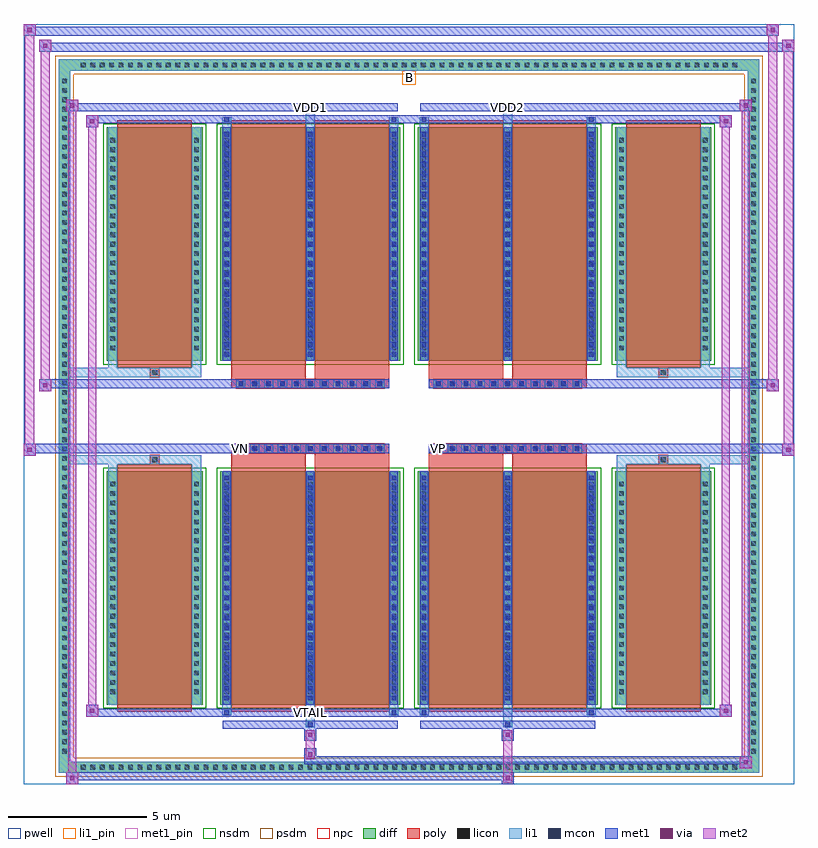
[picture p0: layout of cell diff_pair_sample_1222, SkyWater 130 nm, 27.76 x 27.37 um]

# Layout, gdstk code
import gdstk
lib = gdstk.Library(unit=1e-6, precision=5e-09)
def R(c, l, rs):  # rectangles x0, y0, x1, y1
    for r in rs: c.add(gdstk.rectangle(r[:2], r[2:], *l))
def A(c, l, x, y, w, h, nx, ny, dx, dy):  # array of equal rectangles
    R(c, l, [(x+i*dx, y+j*dy, x+i*dx+w, y+j*dy+h) for i in range(nx) for j in range(ny)])
def P(c, l, *ps):  # polygons
    for p in ps: c.add(gdstk.Polygon(p, *l))
pwell = (64, 44)
diff = (65, 20)
poly = (66, 20)
licon = (66, 44)
li1_pin = (67, 16)
li1 = (67, 20)
mcon = (67, 44)
met1_pin = (68, 16)
met1 = (68, 20)
via = (68, 44)
met2 = (69, 20)
nsdm = (93, 44)
psdm = (94, 20)
npc = (95, 20)

diff_pair_sample_1222 = lib.new_cell('diff_pair_sample_1222')
R(diff_pair_sample_1222, pwell, [(-13.88,-13.25,13.88,14.12), (-11.2,-11.44,-0.01,-0.8), (0.01,-11.44,11.2,-0.8), (-11.2,0.8,-0.01,11.44), (0.01,0.8,11.2,11.44)])
A(diff_pair_sample_1222, diff, -11.935, -12.85, 0.41, 0.41, 70, 2, 0.34, 25.29)
A(diff_pair_sample_1222, diff, -12.61, -12.275, 0.41, 0.41, 1, 72, 0, 0.34)
A(diff_pair_sample_1222, diff, 12.2, -12.275, 0.41, 0.41, 1, 72, 0, 0.34)
R(diff_pair_sample_1222, diff, [(-11.935,-12.85,11.935,-12.44), (-12.61,-12.275,-12.2,12.275), (12.2,-12.275,12.61,12.275), (-10.89,-10.395,-7.43,-1.985), (-6.79,-10.395,-0.32,-1.985), (0.32,-10.395,6.79,-1.985), (7.43,-10.395,10.89,-1.985), (-10.89,1.985,-7.43,10.395), (-6.79,1.985,-0.32,10.395), (0.32,1.985,6.79,10.395), (7.43,1.985,10.89,10.395), (-11.935,12.44,11.935,12.85)])
P(diff_pair_sample_1222, diff, [(12.61,12.85),(-12.61,12.85),(-12.61,-12.44),(-12.2,-12.44),(-12.2,12.44),(12.2,12.44),(12.2,-12.44),(-12.2,-12.44),(-12.61,-12.44),(-12.61,-12.85),(12.61,-12.85)])
A(diff_pair_sample_1222, poly, -6.22, -1.33, 0.33, 0.33, 11, 2, 0.5, 2.33)
A(diff_pair_sample_1222, poly, 0.89, -1.33, 0.33, 0.33, 11, 2, 0.5, 2.33)
R(diff_pair_sample_1222, poly, [(-10.5,-10.645,-7.82,-1.735), (-6.4,-10.645,-3.72,-1.735), (-3.39,-10.645,-0.71,-1.735), (0.71,-10.645,3.39,-1.735), (3.72,-10.645,6.4,-1.735), (7.82,-10.645,10.5,-1.735), (-9.325,-1.735,-8.995,-1.405), (-9.325,-1.735,-8.995,-1.405), (-6.4,-1.735,-3.72,-1.33), (-3.39,-1.735,-0.71,-1.33), (0.71,-1.735,3.39,-1.33), (3.72,-1.735,6.4,-1.33), (8.995,-1.735,9.325,-1.405), (8.995,-1.735,9.325,-1.405), (-6.4,-1.33,-0.71,-1), (0.71,-1.33,6.4,-1), (-6.4,1,-0.71,1.33), (0.71,1,6.4,1.33), (-6.4,1.33,-3.72,1.735), (-3.39,1.33,-0.71,1.735), (0.71,1.33,3.39,1.735), (3.72,1.33,6.4,1.735), (-9.325,1.405,-8.995,1.735), (-9.325,1.405,-8.995,1.735), (8.995,1.405,9.325,1.735), (8.995,1.405,9.325,1.735), (-10.5,1.735,-7.82,10.645), (-6.4,1.735,-3.72,10.645), (-3.39,1.735,-0.71,10.645), (0.71,1.735,3.39,10.645), (3.72,1.735,6.4,10.645), (7.82,1.735,10.5,10.645)])
A(diff_pair_sample_1222, licon, -11.815, -12.73, 0.17, 0.17, 70, 2, 0.34, 25.29)
A(diff_pair_sample_1222, licon, -12.49, -12.155, 0.17, 0.17, 1, 72, 0, 0.34)
A(diff_pair_sample_1222, licon, 12.32, -12.155, 0.17, 0.17, 1, 72, 0, 0.34)
A(diff_pair_sample_1222, licon, -10.75, -10.015, 0.17, 0.17, 1, 23, 0, 0.34)
A(diff_pair_sample_1222, licon, -7.74, -10.015, 0.17, 0.17, 1, 23, 0, 0.34)
A(diff_pair_sample_1222, licon, -6.65, -10.015, 0.17, 0.17, 3, 23, 3.01, 0.34)
A(diff_pair_sample_1222, licon, 0.46, -10.015, 0.17, 0.17, 3, 23, 3.01, 0.34)
A(diff_pair_sample_1222, licon, 7.57, -10.015, 0.17, 0.17, 1, 23, 0, 0.34)
A(diff_pair_sample_1222, licon, 10.58, -10.015, 0.17, 0.17, 1, 23, 0, 0.34)
A(diff_pair_sample_1222, licon, -6.14, -1.25, 0.17, 0.17, 11, 2, 0.5, 2.33)
A(diff_pair_sample_1222, licon, 0.97, -1.25, 0.17, 0.17, 11, 2, 0.5, 2.33)
A(diff_pair_sample_1222, licon, -10.75, 2.365, 0.17, 0.17, 1, 23, 0, 0.34)
A(diff_pair_sample_1222, licon, -7.74, 2.365, 0.17, 0.17, 1, 23, 0, 0.34)
A(diff_pair_sample_1222, licon, -6.65, 2.365, 0.17, 0.17, 3, 23, 3.01, 0.34)
A(diff_pair_sample_1222, licon, 0.46, 2.365, 0.17, 0.17, 3, 23, 3.01, 0.34)
A(diff_pair_sample_1222, licon, 7.57, 2.365, 0.17, 0.17, 1, 23, 0, 0.34)
A(diff_pair_sample_1222, licon, 10.58, 2.365, 0.17, 0.17, 1, 23, 0, 0.34)
R(diff_pair_sample_1222, licon, [(-9.245,-1.655,-9.075,-1.485), (9.075,-1.655,9.245,-1.485), (-9.245,1.485,-9.075,1.655), (9.075,1.485,9.245,1.655)])
R(diff_pair_sample_1222, li1_pin, [(-0.25,11.94,0.25,12.44)])
A(diff_pair_sample_1222, li1, -11.895, -12.81, 0.33, 0.33, 70, 2, 0.34, 25.29)
A(diff_pair_sample_1222, li1, -12.57, -12.235, 0.33, 0.33, 1, 72, 0, 0.34)
A(diff_pair_sample_1222, li1, 12.24, -12.235, 0.33, 0.33, 1, 72, 0, 0.34)
A(diff_pair_sample_1222, li1, -6.73, -10.395, 0.33, 8.41, 3, 2, 3.01, 12.38)
A(diff_pair_sample_1222, li1, 0.38, -10.395, 0.33, 8.41, 3, 2, 3.01, 12.38)
A(diff_pair_sample_1222, li1, -6.65, -10.235, 0.17, 0.17, 3, 23, 3.01, 0.36)
A(diff_pair_sample_1222, li1, -6.65, -10.235, 0.17, 8.09, 3, 2, 3.01, 12.38)
A(diff_pair_sample_1222, li1, 0.46, -10.235, 0.17, 0.17, 3, 23, 3.01, 0.36)
A(diff_pair_sample_1222, li1, 0.46, -10.235, 0.17, 8.09, 3, 2, 3.01, 12.38)
A(diff_pair_sample_1222, li1, -10.83, -10.095, 0.33, 0.33, 1, 23, 0, 0.34)
A(diff_pair_sample_1222, li1, -7.82, -10.095, 0.33, 0.33, 1, 23, 0, 0.34)
A(diff_pair_sample_1222, li1, -6.73, -10.095, 0.33, 0.33, 3, 23, 3.01, 0.34)
A(diff_pair_sample_1222, li1, 0.38, -10.095, 0.33, 0.33, 3, 23, 3.01, 0.34)
A(diff_pair_sample_1222, li1, 7.49, -10.095, 0.33, 0.33, 1, 23, 0, 0.34)
A(diff_pair_sample_1222, li1, 10.5, -10.095, 0.33, 0.33, 1, 23, 0, 0.34)
A(diff_pair_sample_1222, li1, -6.22, -1.33, 0.33, 0.33, 11, 2, 0.5, 2.33)
A(diff_pair_sample_1222, li1, 0.89, -1.33, 0.33, 0.33, 11, 2, 0.5, 2.33)
A(diff_pair_sample_1222, li1, -6.65, 2.145, 0.17, 0.17, 3, 23, 3.01, 0.36)
A(diff_pair_sample_1222, li1, 0.46, 2.145, 0.17, 0.17, 3, 23, 3.01, 0.36)
A(diff_pair_sample_1222, li1, -10.83, 2.285, 0.33, 0.33, 1, 23, 0, 0.34)
A(diff_pair_sample_1222, li1, -7.82, 2.285, 0.33, 0.33, 1, 23, 0, 0.34)
A(diff_pair_sample_1222, li1, -6.73, 2.285, 0.33, 0.33, 3, 23, 3.01, 0.34)
A(diff_pair_sample_1222, li1, 0.38, 2.285, 0.33, 0.33, 3, 23, 3.01, 0.34)
A(diff_pair_sample_1222, li1, 7.49, 2.285, 0.33, 0.33, 1, 23, 0, 0.34)
A(diff_pair_sample_1222, li1, 10.5, 2.285, 0.33, 0.33, 1, 23, 0, 0.34)
R(diff_pair_sample_1222, li1, [(-12.61,-12.85,-12.2,-12.44), (-12.61,-12.85,-12.2,-12.44), (-12.2,-12.85,12.2,-12.44), (12.2,-12.85,12.61,-12.44), (12.2,-12.85,12.61,-12.44), (-12.61,-12.44,-12.2,12.44), (12.2,-12.44,12.61,12.44), (-3.72,-11.2,-3.39,-10.395), (-3.64,-11.2,-3.47,-11.03), (3.39,-11.2,3.72,-10.395), (3.47,-11.2,3.64,-11.03), (-6.73,-10.77,-6.4,-10.395), (-6.65,-10.77,-6.48,-10.6), (-0.71,-10.77,-0.38,-10.395), (-0.63,-10.77,-0.46,-10.6), (0.38,-10.77,0.71,-10.395), (0.46,-10.77,0.63,-10.6), (6.4,-10.77,6.73,-10.395), (6.48,-10.77,6.65,-10.6), (-10.83,-10.395,-10.5,-1.985), (-7.82,-10.395,-7.49,-1.985), (7.49,-10.395,7.82,-1.985), (10.5,-10.395,10.83,-1.985), (-10.83,-1.985,-10.5,-1.405), (-7.82,-1.985,-7.49,-1.405), (7.49,-1.985,7.82,-1.405), (10.5,-1.985,10.83,-1.405), (-12.61,-1.735,-9.325,-1.405), (-10.83,-1.735,-9.325,-1.405), (-9.325,-1.735,-8.995,-1.405), (-8.995,-1.735,-7.49,-1.405), (7.49,-1.735,8.995,-1.405), (8.995,-1.735,9.325,-1.405), (8.995,-1.735,12.61,-1.405), (9.325,-1.735,10.83,-1.405), (-12.61,1.405,-9.325,1.735), (-10.83,1.405,-9.325,1.735), (-10.83,1.405,-10.5,1.985), (-9.325,1.405,-8.995,1.735), (-8.995,1.405,-7.49,1.735), (-7.82,1.405,-7.49,1.985), (7.49,1.405,8.995,1.735), (7.49,1.405,7.82,1.985), (8.995,1.405,9.325,1.735), (8.995,1.405,12.61,1.735), (9.325,1.405,10.83,1.735), (10.5,1.405,10.83,1.985), (-10.83,1.985,-10.5,10.395), (-7.82,1.985,-7.49,10.395), (7.49,1.985,7.82,10.395), (10.5,1.985,10.83,10.395), (-6.73,10.395,-6.4,10.77), (-3.72,10.395,-3.39,11.2), (-0.71,10.395,-0.38,10.77), (0.38,10.395,0.71,10.77), (3.39,10.395,3.72,11.2), (6.4,10.395,6.73,10.77), (-6.65,10.6,-6.48,10.77), (-0.63,10.6,-0.46,10.77), (0.46,10.6,0.63,10.77), (6.48,10.6,6.65,10.77), (-3.64,11.03,-3.47,11.2), (3.47,11.03,3.64,11.2), (-12.61,12.44,-12.2,12.85), (-12.61,12.44,-12.2,12.85), (-12.2,12.44,12.2,12.85), (12.2,12.44,12.61,12.85), (12.2,12.44,12.61,12.85)])
A(diff_pair_sample_1222, mcon, -6.65, -10.235, 0.17, 0.17, 3, 23, 3.01, 0.36)
A(diff_pair_sample_1222, mcon, 0.46, -10.235, 0.17, 0.17, 3, 23, 3.01, 0.36)
A(diff_pair_sample_1222, mcon, -6.14, -1.25, 0.17, 0.17, 11, 2, 0.5, 2.33)
A(diff_pair_sample_1222, mcon, 0.97, -1.25, 0.17, 0.17, 11, 2, 0.5, 2.33)
A(diff_pair_sample_1222, mcon, -6.65, 2.145, 0.17, 0.17, 3, 23, 3.01, 0.36)
A(diff_pair_sample_1222, mcon, 0.46, 2.145, 0.17, 0.17, 3, 23, 3.01, 0.36)
R(diff_pair_sample_1222, mcon, [(-3.64,-11.2,-3.47,-11.03), (3.47,-11.2,3.64,-11.03), (-6.65,-10.77,-6.48,-10.6), (-0.63,-10.77,-0.46,-10.6), (0.46,-10.77,0.63,-10.6), (6.48,-10.77,6.65,-10.6), (-6.65,10.6,-6.48,10.77), (-0.63,10.6,-0.46,10.77), (0.46,10.6,0.63,10.77), (6.48,10.6,6.65,10.77), (-3.64,11.03,-3.47,11.2), (3.47,11.03,3.64,11.2)])
R(diff_pair_sample_1222, met1_pin, [(-3.69,-10.81,-3.42,-10.54), (-6.19,-1.29,-5.92,-1.02), (0.92,-1.29,1.19,-1.02), (-3.69,10.99,-3.42,11.26), (3.42,10.99,3.69,11.26)])
A(diff_pair_sample_1222, met1, -6.71, -10.395, 0.29, 8.41, 3, 2, 3.01, 12.38)
A(diff_pair_sample_1222, met1, 0.4, -10.395, 0.29, 8.41, 3, 2, 3.01, 12.38)
A(diff_pair_sample_1222, met1, -6.71, -10.295, 0.29, 0.29, 3, 23, 3.01, 0.36)
A(diff_pair_sample_1222, met1, 0.4, -10.295, 0.29, 0.29, 3, 23, 3.01, 0.36)
A(diff_pair_sample_1222, met1, -6.2, -1.31, 0.29, 0.29, 11, 2, 0.5, 2.33)
A(diff_pair_sample_1222, met1, 0.91, -1.31, 0.29, 0.29, 11, 2, 0.5, 2.33)
A(diff_pair_sample_1222, met1, -6.71, 2.085, 0.29, 0.29, 3, 23, 3.01, 0.36)
A(diff_pair_sample_1222, met1, 0.4, 2.085, 0.29, 0.29, 3, 23, 3.01, 0.36)
R(diff_pair_sample_1222, met1, [(-12.34,-13.25,-11.91,-12.82), (3.34,-13.25,3.77,-12.82), (-12.34,-13.11,3.77,-12.82), (11.91,-12.68,12.34,-12.25), (-3.77,-12.54,12.34,-12.25), (-3.77,-12.4,-3.34,-11.97), (-3.77,-11.69,-3.34,-11.26), (3.34,-11.69,3.77,-11.26), (-6.71,-11.26,-0.4,-10.97), (-3.7,-11.26,-3.41,-10.97), (0.4,-11.26,6.71,-10.97), (3.41,-11.26,3.7,-10.97), (-11.63,-10.83,-11.2,-10.4), (-11.63,-10.83,-6.71,-10.54), (-6.71,-10.83,-6.42,-10.54), (-6.71,-10.83,-0.4,-10.54), (-0.69,-10.83,-0.4,-10.54), (-0.4,-10.83,0.4,-10.54), (0.4,-10.83,0.69,-10.54), (0.4,-10.83,6.71,-10.54), (6.42,-10.83,6.71,-10.54), (6.71,-10.83,11.63,-10.54), (11.2,-10.83,11.63,-10.4), (-13.88,-1.43,-13.45,-1), (13.45,-1.43,13.88,-1), (-13.88,-1.33,-0.71,-1), (-6.4,-1.33,-0.71,-1), (0.71,-1.33,6.4,-1), (0.71,-1.33,13.88,-1), (-13.31,0.9,-12.88,1.33), (12.88,0.9,13.31,1.33), (-13.31,1,-6.4,1.33), (-6.4,1,-0.71,1.33), (0.71,1,6.4,1.33), (6.4,1,13.31,1.33), (-11.63,10.4,-11.2,10.83), (11.2,10.4,11.63,10.83), (-11.63,10.54,-6.71,10.83), (-6.71,10.54,-6.42,10.83), (-6.71,10.54,-0.4,10.83), (-0.69,10.54,-0.4,10.83), (-0.4,10.54,0.4,10.83), (0.4,10.54,0.69,10.83), (0.4,10.54,6.71,10.83), (6.42,10.54,6.71,10.83), (6.71,10.54,11.63,10.83), (-12.34,10.97,-11.91,11.4), (-12.34,10.97,-6.71,11.26), (-6.71,10.97,-0.4,11.26), (-3.7,10.97,-3.41,11.26), (0.4,10.97,6.71,11.26), (3.41,10.97,3.7,11.26), (6.71,10.97,12.34,11.26), (11.91,10.97,12.34,11.4), (-13.31,13.12,-12.88,13.55), (-13.31,13.12,-11.2,13.45), (-11.2,13.12,11.2,13.45), (11.2,13.12,13.88,13.45), (13.45,13.12,13.88,13.55), (-13.88,13.69,-13.45,14.12), (-13.88,13.69,-11.2,14.02), (-11.2,13.69,11.2,14.02), (11.2,13.69,13.31,14.02), (12.88,13.69,13.31,14.12)])
R(diff_pair_sample_1222, via, [(-12.2,-13.11,-12.05,-12.96), (3.48,-13.11,3.63,-12.96), (12.05,-12.54,12.2,-12.39), (-3.63,-12.26,-3.48,-12.11), (-3.63,-11.55,-3.48,-11.4), (3.48,-11.55,3.63,-11.4), (-11.49,-10.69,-11.34,-10.54), (11.34,-10.69,11.49,-10.54), (-13.74,-1.29,-13.59,-1.14), (13.59,-1.29,13.74,-1.14), (-13.17,1.04,-13.02,1.19), (13.02,1.04,13.17,1.19), (-11.49,10.54,-11.34,10.69), (11.34,10.54,11.49,10.69), (-12.2,11.11,-12.05,11.26), (12.05,11.11,12.2,11.26), (-13.17,13.26,-13.02,13.41), (13.59,13.26,13.74,13.41), (-13.74,13.83,-13.59,13.98), (13.02,13.83,13.17,13.98)])
R(diff_pair_sample_1222, met2, [(-12.34,-13.25,-11.91,-12.82), (-12.27,-13.25,-11.98,11.4), (-11.98,-13.25,-11.91,-12.82), (-12.29,-13.2,-11.96,-12.87), (3.39,-13.2,3.72,-12.87), (3.39,-12.87,3.72,-11.64), (11.91,-12.68,12.34,-12.25), (11.98,-12.68,12.27,11.4), (12.27,-12.68,12.34,-12.25), (11.96,-12.63,12.29,-12.3), (-3.72,-12.35,-3.39,-12.02), (-3.72,-12.02,-3.39,-11.64), (-3.72,-11.64,-3.39,-11.31), (3.39,-11.64,3.72,-11.31), (-11.63,-10.83,-11.2,-10.4), (-11.56,-10.83,-11.27,10.83), (-11.27,-10.83,-11.2,-10.4), (11.2,-10.83,11.63,-10.4), (11.27,-10.83,11.56,10.83), (11.56,-10.83,11.63,-10.4), (-11.58,-10.78,-11.25,-10.45), (11.25,-10.78,11.58,-10.45), (-13.88,-1.43,-13.45,-1), (-13.83,-1.43,-13.5,14.12), (-13.5,-1.43,-13.45,-1), (13.45,-1.43,13.88,-1), (13.5,-1.43,13.83,13.55), (13.83,-1.43,13.88,-1), (-13.83,-1.38,-13.5,-1.05), (13.5,-1.38,13.83,-1.05), (-13.31,0.9,-12.88,1.33), (-13.26,0.9,-12.93,13.55), (-12.93,0.9,-12.88,1.33), (12.88,0.9,13.31,1.33), (12.93,0.9,13.26,14.12), (13.26,0.9,13.31,1.33), (-13.26,0.95,-12.93,1.28), (12.93,0.95,13.26,1.28), (-11.63,10.4,-11.2,10.83), (-11.27,10.4,-11.2,10.83), (11.2,10.4,11.63,10.83), (11.56,10.4,11.63,10.83), (-11.58,10.45,-11.25,10.78), (11.25,10.45,11.58,10.78), (-12.34,10.97,-11.91,11.4), (-11.98,10.97,-11.91,11.4), (11.91,10.97,12.34,11.4), (12.27,10.97,12.34,11.4), (-12.29,11.02,-11.96,11.35), (11.96,11.02,12.29,11.35), (-13.31,13.12,-12.88,13.55), (-12.93,13.12,-12.88,13.55), (13.45,13.12,13.88,13.55), (13.83,13.12,13.88,13.55), (-13.26,13.17,-12.93,13.5), (13.5,13.17,13.83,13.5), (-13.88,13.69,-13.45,14.12), (-13.5,13.69,-13.45,14.12), (12.88,13.69,13.31,14.12), (13.26,13.69,13.31,14.12), (-13.83,13.74,-13.5,14.07), (12.93,13.74,13.26,14.07)])
R(diff_pair_sample_1222, nsdm, [(-11.02,-10.525,-7.3,-1.855), (-6.92,-10.525,-0.19,-1.855), (0.19,-10.525,6.92,-1.855), (7.3,-10.525,11.02,-1.855), (-11.02,1.855,-7.3,10.525), (-6.92,1.855,-0.19,10.525), (0.19,1.855,6.92,10.525), (7.3,1.855,11.02,10.525)])
P(diff_pair_sample_1222, psdm, [(12.74,12.98),(-12.74,12.98),(-12.74,-12.31),(-12.07,-12.31),(-12.07,12.31),(12.07,12.31),(12.07,-12.31),(-12.07,-12.31),(-12.74,-12.31),(-12.74,-12.98),(12.74,-12.98)])
A(diff_pair_sample_1222, npc, -6.24, -1.35, 0.37, 0.37, 11, 2, 0.5, 2.33)
A(diff_pair_sample_1222, npc, 0.87, -1.35, 0.37, 0.37, 11, 2, 0.5, 2.33)
R(diff_pair_sample_1222, npc, [(-9.345,-1.755,-8.975,-1.385), (8.975,-1.755,9.345,-1.385), (-6.24,-1.35,-5.37,-0.98), (-6.24,-1.35,-5.37,-0.98), (-5.74,-1.35,-4.87,-0.98), (-5.74,-1.35,-4.87,-0.98), (-5.24,-1.35,-4.37,-0.98), (-5.24,-1.35,-4.37,-0.98), (-4.74,-1.35,-3.87,-0.98), (-4.74,-1.35,-3.87,-0.98), (-4.24,-1.35,-3.37,-0.98), (-4.24,-1.35,-3.37,-0.98), (-3.74,-1.35,-2.87,-0.98), (-3.74,-1.35,-2.87,-0.98), (-3.24,-1.35,-2.37,-0.98), (-3.24,-1.35,-2.37,-0.98), (-2.74,-1.35,-1.87,-0.98), (-2.74,-1.35,-1.87,-0.98), (-2.24,-1.35,-1.37,-0.98), (-2.24,-1.35,-1.37,-0.98), (-1.74,-1.35,-0.87,-0.98), (-1.74,-1.35,-0.87,-0.98), (0.87,-1.35,1.74,-0.98), (0.87,-1.35,1.74,-0.98), (1.37,-1.35,2.24,-0.98), (1.37,-1.35,2.24,-0.98), (1.87,-1.35,2.74,-0.98), (1.87,-1.35,2.74,-0.98), (2.37,-1.35,3.24,-0.98), (2.37,-1.35,3.24,-0.98), (2.87,-1.35,3.74,-0.98), (2.87,-1.35,3.74,-0.98), (3.37,-1.35,4.24,-0.98), (3.37,-1.35,4.24,-0.98), (3.87,-1.35,4.74,-0.98), (3.87,-1.35,4.74,-0.98), (4.37,-1.35,5.24,-0.98), (4.37,-1.35,5.24,-0.98), (4.87,-1.35,5.74,-0.98), (4.87,-1.35,5.74,-0.98), (5.37,-1.35,6.24,-0.98), (5.37,-1.35,6.24,-0.98), (-6.24,0.98,-5.37,1.35), (-6.24,0.98,-5.37,1.35), (-5.74,0.98,-4.87,1.35), (-5.74,0.98,-4.87,1.35), (-5.24,0.98,-4.37,1.35), (-5.24,0.98,-4.37,1.35), (-4.74,0.98,-3.87,1.35), (-4.74,0.98,-3.87,1.35), (-4.24,0.98,-3.37,1.35), (-4.24,0.98,-3.37,1.35), (-3.74,0.98,-2.87,1.35), (-3.74,0.98,-2.87,1.35), (-3.24,0.98,-2.37,1.35), (-3.24,0.98,-2.37,1.35), (-2.74,0.98,-1.87,1.35), (-2.74,0.98,-1.87,1.35), (-2.24,0.98,-1.37,1.35), (-2.24,0.98,-1.37,1.35), (-1.74,0.98,-0.87,1.35), (-1.74,0.98,-0.87,1.35), (0.87,0.98,1.74,1.35), (0.87,0.98,1.74,1.35), (1.37,0.98,2.24,1.35), (1.37,0.98,2.24,1.35), (1.87,0.98,2.74,1.35), (1.87,0.98,2.74,1.35), (2.37,0.98,3.24,1.35), (2.37,0.98,3.24,1.35), (2.87,0.98,3.74,1.35), (2.87,0.98,3.74,1.35), (3.37,0.98,4.24,1.35), (3.37,0.98,4.24,1.35), (3.87,0.98,4.74,1.35), (3.87,0.98,4.74,1.35), (4.37,0.98,5.24,1.35), (4.37,0.98,5.24,1.35), (4.87,0.98,5.74,1.35), (4.87,0.98,5.74,1.35), (5.37,0.98,6.24,1.35), (5.37,0.98,6.24,1.35), (-9.345,1.385,-8.975,1.755), (8.975,1.385,9.345,1.755)])
diff_pair_sample_1222.add(gdstk.Label('VTAIL', (-3.555,-10.675), layer=68, texttype=5))
diff_pair_sample_1222.add(gdstk.Label('VN', (-6.055,-1.155), layer=68, texttype=5))
diff_pair_sample_1222.add(gdstk.Label('VP', (1.055,-1.155), layer=68, texttype=5))
diff_pair_sample_1222.add(gdstk.Label('B', (0,12.19), layer=67, texttype=5))
diff_pair_sample_1222.add(gdstk.Label('VDD2', (3.555,11.125), layer=68, texttype=5))
diff_pair_sample_1222.add(gdstk.Label('VDD1', (-3.555,11.125), layer=68, texttype=5))

lib.write_gds('diff_pair_sample_1222.gds')
